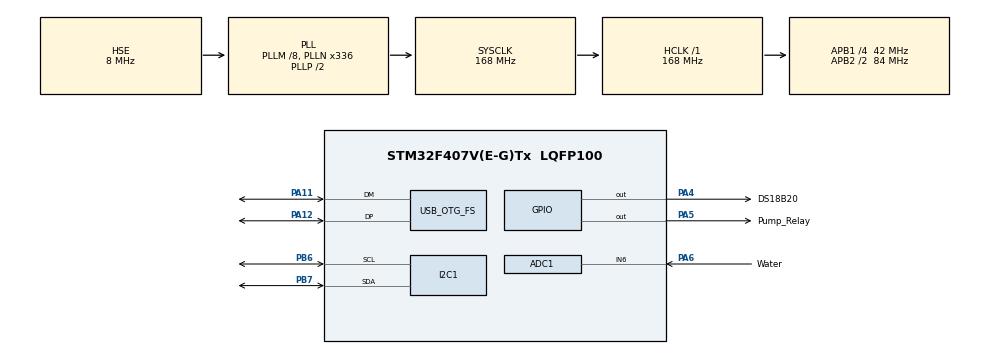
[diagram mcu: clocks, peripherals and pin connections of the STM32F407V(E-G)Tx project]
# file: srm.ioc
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ADC1.Channel-0\#ChannelRegularConversion=ADC_CHANNEL_6
ADC1.NbrOfConversionFlag=1
ADC1.Rank-0\#ChannelRegularConversion=1
ADC1.SamplingTime-0\#ChannelRegularConversion=ADC_SAMPLETIME_3CYCLES
ADC1.master=1
Mcu.Family=STM32F4
Mcu.Name=STM32F407V(E-G)Tx
Mcu.Package=LQFP100
NVIC.OTG_FS_IRQn=true\:0\:0\:false\:false\:true\:true\:true\:true
NVIC.PriorityGroup=NVIC_PRIORITYGROUP_0
PA11.Mode=Device_Only
PA11.Signal=USB_OTG_FS_DM
PA12.Mode=Device_Only
PA12.Signal=USB_OTG_FS_DP
PA13.Mode=Serial_Wire
PA13.Signal=SYS_JTMS-SWDIO
PA14.Mode=Serial_Wire
PA14.Signal=SYS_JTCK-SWCLK
PA4.GPIO_Label=DS18B20
PA4.Signal=GPIO_Output
PA5.GPIO_Label=Pump_Relay
PA5.Signal=GPIO_Output
PA6.GPIO_Label=Water
PA6.Signal=SharedAnalog_PA6
PB6.Mode=I2C
PB6.Signal=I2C1_SCL
PB7.Mode=I2C
PB7.Signal=I2C1_SDA
PH0-OSC_IN.Mode=HSE-External-Oscillator
PH0-OSC_IN.Signal=RCC_OSC_IN
PH1-OSC_OUT.Mode=HSE-External-Oscillator
PH1-OSC_OUT.Signal=RCC_OSC_OUT
ProjectManager.HeapSize=0x200
ProjectManager.StackSize=0x400
ProjectManager.TargetToolchain=STM32CubeIDE
RCC.48MHZClocksFreq_Value=48000000
RCC.AHBFreq_Value=168000000
RCC.APB1CLKDivider=RCC_HCLK_DIV4
RCC.APB1Freq_Value=42000000
RCC.APB1TimFreq_Value=84000000
RCC.APB2CLKDivider=RCC_HCLK_DIV2
RCC.APB2Freq_Value=84000000
RCC.APB2TimFreq_Value=168000000
RCC.CortexFreq_Value=168000000
RCC.HCLKFreq_Value=168000000
RCC.HSE_VALUE=8000000
RCC.HSI_VALUE=16000000
RCC.PLLM=8
RCC.PLLN=336
RCC.PLLQ=7
RCC.PLLSourceVirtual=RCC_PLLSOURCE_HSE
RCC.SYSCLKFreq_VALUE=168000000
RCC.SYSCLKSource=RCC_SYSCLKSOURCE_PLLCLK
RCC.VCOOutputFreq_Value=336000000
SH.SharedAnalog_PA6.0=GPIO_Analog
SH.SharedAnalog_PA6.1=ADC1_IN6,IN6
USB_DEVICE.CLASS_NAME_FS=CDC
USB_DEVICE.VirtualMode-CDC_FS=Cdc
USB_DEVICE.VirtualModeFS=Cdc_FS
USB_OTG_FS.VirtualMode=Device_Only
VP_USB_DEVICE_VS_USB_DEVICE_CDC_FS.Mode=CDC_FS
board=STM32F407G-DISC1

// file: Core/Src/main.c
/* USER CODE BEGIN Header */
/**
  ******************************************************************************
  * @file           : main.c
  * @brief          : Main program body
  ******************************************************************************
  * @attention
  *
  * Copyright (c) 2025 STMicroelectronics.
  * All rights reserved.
  *
  * This software is licensed under terms that can be found in the LICENSE file
  * in the root directory of this software component.
  * If no LICENSE file comes with this software, it is provided AS-IS.
  *
  ******************************************************************************
  */
/* USER CODE END Header */
#include "main.h"
#include "adc.h"
#include "i2c.h"
#include "usb_device.h"
#include "gpio.h"

/* USER CODE BEGIN Includes */
#include <stdio.h>
#include <string.h>
#include <stdarg.h>
#include "usbd_cdc_if.h"
#include "NanoEdgeAI.h"
#include "knowledge.h"
/* USER CODE END Includes */

/* USER CODE BEGIN PTD */
typedef struct { int16_t x, y, z; } vector3_t;
/* USER CODE END PTD */

/* USER CODE BEGIN PD */
#define ADXL345_ADDR            (0x53 << 1)
#define ADXL345_REG_POWER_CTL   0x2D
#define ADXL345_REG_DATAX0      0x32
#define ACC_BUFFER_SIZE         300

#define PUMP_GPIO_PORT          GPIOA
#define PUMP_PIN                GPIO_PIN_5
#define WATER_SENSOR_CHANNEL    ADC_CHANNEL_6  /* PA6 */
#define WATER_LOW_THRESHOLD_PERCENT 20

#define DS18B20_PORT            GPIOA
#define DS18B20_PIN             GPIO_PIN_4     /* PA4 (DQ) */

/* USER CODE END PD */

/* USER CODE BEGIN PV */
float acc_buffer[ACC_BUFFER_SIZE];
uint16_t water_level_full = 1; /* initialized >0 to avoid div-by-zero */
uint8_t neai_similarity = 0;
/* USER CODE END PV */

void SystemClock_Config(void);

/* USER CODE BEGIN 0 */

/* ---------- USB print helper (CDC) ---------- */
static void usb_printf(const char *fmt, ...)
{
  char buf[160];
  va_list ap;
  va_start(ap, fmt);
  vsnprintf(buf, sizeof(buf), fmt, ap);
  va_end(ap);

  /* wait if busy */
  while (CDC_Transmit_FS((uint8_t *)buf, (uint16_t)strlen(buf)) == USBD_BUSY)
  {
    HAL_Delay(1);
  }
  HAL_Delay(2); /* small pause to allow host to receive (safe) */
}

/* ---------- simple short delay function (rough micro delays without timers) ----------
   This uses a small empty loop tuned to be small. It's not cycle-accurate across
   all optimization levels and compilers, but avoids hardware timers as requested.
   If you need accurate timing, request a DWT/us-timer version. */
static void short_delay_cycles(volatile uint32_t cycles)
{
  while (cycles--) { __NOP(); }
}

/* ---------- DS18B20 1-Wire (bit-banged) on PA4 ----------
   Note: uses open-drain like behavior by switching pin mode between output (drive low)
   and input (release line so pull-up can pull high). You MUST have a 4.7k pull-up on DQ.
*/
static void ds18b20_pin_output(void)
{
  GPIO_InitTypeDef gpio = {0};
  gpio.Pin = DS18B20_PIN;
  gpio.Mode = GPIO_MODE_OUTPUT_PP; /* we'll drive low when needed, set high by releasing */
  gpio.Pull = GPIO_NOPULL;
  gpio.Speed = GPIO_SPEED_FREQ_LOW;
  HAL_GPIO_Init(DS18B20_PORT, &gpio);
}

static void ds18b20_pin_input(void)
{
  GPIO_InitTypeDef gpio = {0};
  gpio.Pin = DS18B20_PIN;
  gpio.Mode = GPIO_MODE_INPUT;
  gpio.Pull = GPIO_NOPULL;
  HAL_GPIO_Init(DS18B20_PORT, &gpio);
}

/* Reset pulse: master pulls low for ~480us, then releases and reads presence */
static uint8_t ds18b20_reset(void)
{
  uint8_t presence = 0;

  ds18b20_pin_output();
  HAL_GPIO_WritePin(DS18B20_PORT, DS18B20_PIN, GPIO_PIN_RESET);
  /* ~480us low: approximate with HAL_Delay(1) = 1 ms is longer but safe; use short loops for ~600 cycles */
  /* We use 8000 cycles of NOP which is a rough ~?us depending on clock - not exact.
     To be safe and portable, use HAL_Delay(1) here (1 ms) which is longer than spec but safe. */
  HAL_Delay(1);

  ds18b20_pin_input(); /* release the bus */
  /* Wait 60-70us for presence window; approximate with small cycles */
  short_delay_cycles(4000); /* small busy loop */
  if (HAL_GPIO_ReadPin(DS18B20_PORT, DS18B20_PIN) == GPIO_PIN_RESET) presence = 1;
  /* Wait for end of presence (recovery) */
  short_delay_cycles(4000);
  return presence;
}

/* Write single bit */
static void ds18b20_write_bit(uint8_t bit)
{
  ds18b20_pin_output();
  HAL_GPIO_WritePin(DS18B20_PORT, DS18B20_PIN, GPIO_PIN_RESET);

  if (bit) {
    /* write 1: release quickly (<15us) */
    short_delay_cycles(1500);
    ds18b20_pin_input(); /* release bus to let pull-up raise line */
    /* slot rest */
    short_delay_cycles(7000);
  } else {
    /* write 0: hold low for ~60us */
    short_delay_cycles(10000);
    ds18b20_pin_input();
    short_delay_cycles(2000);
  }
}

/* Read single bit */
static uint8_t ds18b20_read_bit(void)
{
  uint8_t bit = 0;
  ds18b20_pin_output();
  HAL_GPIO_WritePin(DS18B20_PORT, DS18B20_PIN, GPIO_PIN_RESET);
  /* short low */
  short_delay_cycles(1200);
  ds18b20_pin_input(); /* master releases and reads */
  short_delay_cycles(2500);
  if (HAL_GPIO_ReadPin(DS18B20_PORT, DS18B20_PIN) == GPIO_PIN_SET) bit = 1;
  /* finish slot */
  short_delay_cycles(7000);
  return bit;
}

/* Write byte (LSB first) */
static void ds18b20_write_byte(uint8_t val)
{
  for (uint8_t i = 0; i < 8; ++i) {
    ds18b20_write_bit(val & 0x01);
    val >>= 1;
  }
}

/* Read byte (LSB first) */
static uint8_t ds18b20_read_byte(void)
{
  uint8_t val = 0;
  for (uint8_t i = 0; i < 8; ++i) {
    val |= (ds18b20_read_bit() << i);
  }
  return val;
}

/* Get temperature from DS18B20: returns Celsius (float) or very negative on error */
static float ds18b20_get_temperature(void)
{
  uint8_t lsb, msb;
  int16_t raw;

  if (!ds18b20_reset()) {
    /* no presence — return clearly invalid temperature */
    return -1000.0f;
  }

  ds18b20_write_byte(0xCC); /* SKIP ROM (only one device) */
  ds18b20_write_byte(0x44); /* CONVERT T */

  /* Conversion time: up to 750 ms for 12-bit. We'll wait 750ms (safe) */
  HAL_Delay(750);

  if (!ds18b20_reset()) return -1000.0f;
  ds18b20_write_byte(0xCC); /* SKIP ROM */
  ds18b20_write_byte(0xBE); /* READ SCRATCHPAD */

  lsb = ds18b20_read_byte();
  msb = ds18b20_read_byte();

  raw = (int16_t)((msb << 8) | lsb);

  /* Temperature resolution is 1/16 C (12-bit default) */
  return ((float)raw) / 16.0f;
}

/* ---------- ADXL345 functions (I2C1) ---------- */
static HAL_StatusTypeDef read_adxl345(vector3_t *acc)
{
  uint8_t buf[6];
  if (HAL_I2C_Mem_Read(&hi2c1, ADXL345_ADDR, ADXL345_REG_DATAX0, 1, buf, 6, 100) != HAL_OK)
    return HAL_ERROR;

  acc->x = (int16_t)((buf[1] << 8) | buf[0]);
  acc->y = (int16_t)((buf[3] << 8) | buf[2]);
  acc->z = (int16_t)((buf[5] << 8) | buf[4]);
  return HAL_OK;
}

static void fill_acc_buffer(void)
{
  vector3_t acc;
  for (int i = 0; i < (ACC_BUFFER_SIZE / 3); ++i) {
    while (read_adxl345(&acc) != HAL_OK) { HAL_Delay(1); }
    acc_buffer[i*3 + 0] = acc.x * 0.0039f; /* assuming +/-2g -> 3.9mg/LSB */
    acc_buffer[i*3 + 1] = acc.y * 0.0039f;
    acc_buffer[i*3 + 2] = acc.z * 0.0039f;
    HAL_Delay(1);
  }
}

/* ---------- ADC water level ---------- */
static uint16_t read_water_level_adc(void)
{
  ADC_ChannelConfTypeDef sConfig = {0};
  sConfig.Channel = WATER_SENSOR_CHANNEL;
  sConfig.Rank = 1;
  sConfig.SamplingTime = ADC_SAMPLETIME_3CYCLES;
  HAL_ADC_ConfigChannel(&hadc1, &sConfig);
  HAL_ADC_Start(&hadc1);
  HAL_ADC_PollForConversion(&hadc1, HAL_MAX_DELAY);
  uint16_t val = (uint16_t)HAL_ADC_GetValue(&hadc1);
  HAL_ADC_Stop(&hadc1);
  return val;
}

static void calibrate_full_water_level(void)
{
  usb_printf("Calibrating full water level (stand level) in 2s...\r\n");
  HAL_Delay(2000);
  water_level_full = read_water_level_adc();
  if (water_level_full == 0) water_level_full = 1; /* safety */
  usb_printf("Calibrated full level ADC = %u\r\n", water_level_full);
}

static void pump_on(void)  { HAL_GPIO_WritePin(PUMP_GPIO_PORT, PUMP_PIN, GPIO_PIN_SET); }
static void pump_off(void) { HAL_GPIO_WritePin(PUMP_GPIO_PORT, PUMP_PIN, GPIO_PIN_RESET); }

/* USER CODE END 0 */

int main(void)
{

  /* MCU Configuration--------------------------------------------------------*/
  HAL_Init();

  SystemClock_Config();

  /* Initialize all configured peripherals */
  MX_GPIO_Init();
  MX_ADC1_Init();
  MX_I2C1_Init();
  MX_USB_DEVICE_Init();
  /* USER CODE BEGIN 2 */

  /* Basic USB ready message */
  HAL_Delay(200);
  usb_printf("STM32F407VG USB CDC Ready\r\n");

  /* Power ADXL345: set measure bit in POWER_CTL (0x2D = 0x08) */
  {
    uint8_t cmd = 0x08;
    HAL_I2C_Mem_Write(&hi2c1, ADXL345_ADDR, ADXL345_REG_POWER_CTL, 1, &cmd, 1, 100);
    HAL_Delay(100);
  }

  /* Initialize NanoEdge AI anomaly detection */
  if (neai_anomalydetection_init() == NEAI_OK) {
    usb_printf("NanoEdgeAI initialized\r\n");
  } else {
    usb_printf("NanoEdgeAI init ERROR\r\n");
  }

  /* Learning phase */
  for (uint16_t i = 0; i < 20; ++i) {
    usb_printf("Learning iteration %u/20\r\n", (unsigned)i+1);
    fill_acc_buffer();
    neai_anomalydetection_learn(acc_buffer);
    HAL_Delay(50);
  }
  usb_printf("Learning finished\r\n");

  /* Calibrate water full level */
  calibrate_full_water_level();

  /* USER CODE END 2 */

  /* Infinite loop */
  /* USER CODE BEGIN WHILE */
  while (1)
  {
    /* 1) Anomaly detection */
    fill_acc_buffer();
    neai_anomalydetection_detect(acc_buffer, &neai_similarity);
    if (neai_similarity >= 90) {
      usb_printf("NOMINAL,%u\r\n", (unsigned)neai_similarity);
    } else {
      usb_printf("ANOMALY,%u\r\n", (unsigned)neai_similarity);
    }

    /* 2) Water level read and pump control */
    {
      uint16_t wl = read_water_level_adc();
      float percent = (100.0f * (float)wl) / (float)water_level_full;
      if (percent < 0.0f) percent = 0.0f;
      if (percent > 100.0f) percent = 100.0f;
      usb_printf("WaterLevel,%u,%.2f%%\r\n", wl, percent);

      if (percent > (float)WATER_LOW_THRESHOLD_PERCENT) {
        pump_on();
        usb_printf("Pump ON\r\n");
      } else {
        pump_off();
        usb_printf("Pump OFF\r\n");
      }
    }

    /* 3) DS18B20 temperature */
    {
      float t = ds18b20_get_temperature();
      if (t < -500.0f) {
        usb_printf("WaterTemp,ERR\r\n");
      } else {
        usb_printf("WaterTemp,%.2fC\r\n", t);
      }
    }

    HAL_Delay(1000); /* main loop delay */
  /* USER CODE END WHILE */

  }
}

/* SystemClock_Config kept as generated by CubeMX; if your project uses a different
   PLL values you previously set, keep those. This file uses the standard CubeMX
   SystemClock_Config (user-provided in your template). */
void SystemClock_Config(void)
{
  RCC_OscInitTypeDef RCC_OscInitStruct = {0};
  RCC_ClkInitTypeDef RCC_ClkInitStruct = {0};

  /** Configure the main internal regulator output voltage
  */
  __HAL_RCC_PWR_CLK_ENABLE();
  __HAL_PWR_VOLTAGESCALING_CONFIG(PWR_REGULATOR_VOLTAGE_SCALE1);

  /** Initializes the RCC Oscillators according to the specified parameters
  * in the RCC_OscInitTypeDef structure.
  */
  RCC_OscInitStruct.OscillatorType = RCC_OSCILLATORTYPE_HSE;
  RCC_OscInitStruct.HSEState = RCC_HSE_ON;
  RCC_OscInitStruct.PLL.PLLState = RCC_PLL_ON;
  RCC_OscInitStruct.PLL.PLLSource = RCC_PLLSOURCE_HSE;
  /* Keep CubeMX defaults you had — update these if your clock config differs */
  RCC_OscInitStruct.PLL.PLLM = 8;
  RCC_OscInitStruct.PLL.PLLN = 336;
  RCC_OscInitStruct.PLL.PLLP = RCC_PLLP_DIV2;
  RCC_OscInitStruct.PLL.PLLQ = 7;
  if (HAL_RCC_OscConfig(&RCC_OscInitStruct) != HAL_OK)
  {
    Error_Handler();
  }
  /** Initializes the CPU, AHB and APB buses clocks
  */
  RCC_ClkInitStruct.ClockType = RCC_CLOCKTYPE_HCLK|RCC_CLOCKTYPE_SYSCLK
                              |RCC_CLOCKTYPE_PCLK1|RCC_CLOCKTYPE_PCLK2;
  RCC_ClkInitStruct.SYSCLKSource = RCC_SYSCLKSOURCE_PLLCLK;
  /* Keep CubeMX APB prescalers you used (this template uses typical F407 values) */
  RCC_ClkInitStruct.AHBCLKDivider = RCC_SYSCLK_DIV1;
  RCC_ClkInitStruct.APB1CLKDivider = RCC_HCLK_DIV4;
  RCC_ClkInitStruct.APB2CLKDivider = RCC_HCLK_DIV2;

  if (HAL_RCC_ClockConfig(&RCC_ClkInitStruct, FLASH_LATENCY_5) != HAL_OK)
  {
    Error_Handler();
  }
}

void Error_Handler(void)
{
  __disable_irq();
  while (1)
  {
    /* trap */
  }
}
